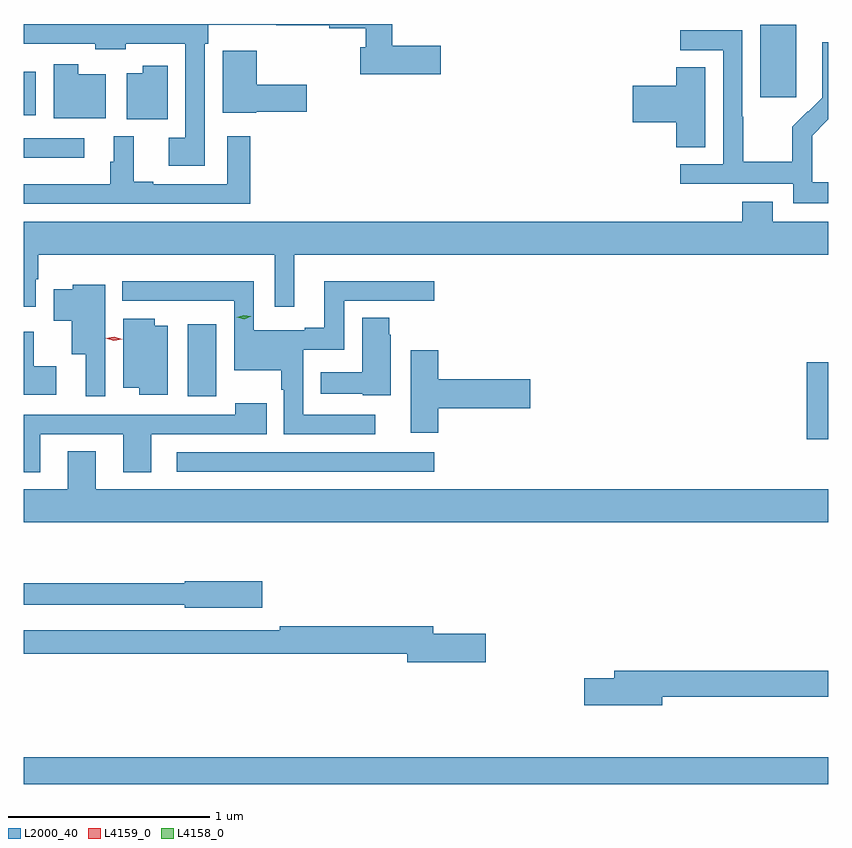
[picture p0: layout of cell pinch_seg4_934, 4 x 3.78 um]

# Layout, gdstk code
import gdstk
lib = gdstk.Library(unit=1e-6, precision=1e-09)
def R(c, l, rs):  # rectangles x0, y0, x1, y1
    for r in rs: c.add(gdstk.rectangle(r[:2], r[2:], *l))
def P(c, l, *ps):  # polygons
    for p in ps: c.add(gdstk.Polygon(p, *l))
L2000_40 = (2000, 40)
L4158_0 = (4158, 0)
L4159_0 = (4159, 0)

pinch_seg4_934 = lib.new_cell('pinch_seg4_934')
R(pinch_seg4_934, L2000_40, [(731.091,748.9,735.091,749.032), (731.853,750.453,733.132,750.549), (734.984,750.615,735.091,750.996), (731.906,750.828,732.049,751.186), (731.091,752.012,731.392,752.109), (731.091,752.225,731.152,752.44), (734.753,752.313,734.932,752.674)])
P(pinch_seg4_934, L2000_40, [(731.991,752.579),(732.008,752.579),(732.008,752.675),(732.346,752.675),(732.346,752.671),(732.61,752.671),(732.61,752.656),(732.791,752.656),(732.791,752.563),(732.764,752.563),(732.764,752.429),(733.165,752.429),(733.165,752.571),(732.923,752.571),(732.923,752.678),(731.091,752.678),(731.091,752.579),(731.144,752.579),(731.144,752.58),(731.448,752.58),(731.448,752.552),(731.598,752.552),(731.598,752.58),(731.895,752.58),(731.895,752.113),(731.811,752.113),(731.811,751.973),(731.991,751.973)],
  [(735.091,751.891),(735.012,751.891),(735.012,752.025),(735.01,752.025),(735.01,752.122),(735.084,752.196),(735.083,752.197),(735.091,752.205),(735.091,752.588),(735.06,752.588),(735.06,752.434),(735.062,752.434),(735.062,752.312),(734.991,752.241),(734.988,752.244),(734.911,752.167),(734.911,751.993),(734.667,751.993),(734.667,752.216),(734.664,752.216),(734.664,752.646),(734.355,752.646),(734.355,752.547),(734.568,752.547),(734.568,751.98),(734.355,751.98),(734.355,751.884),(734.916,751.884),(734.916,751.787),(735.091,751.787)],
  [(732.246,752.243),(732.499,752.243),(732.499,752.377),(732.25,752.377),(732.25,752.544),(732.081,752.544),(732.081,752.441),(732.08,752.441),(732.08,752.237),(732.246,752.237)],
  [(731.5,752.428),(731.362,752.428),(731.362,752.479),(731.24,752.479),(731.24,752.21),(731.5,752.21)],
  [(731.806,752.47),(731.684,752.47),(731.684,752.434),(731.603,752.434),(731.603,752.204),(731.806,752.204)],
  [(734.479,752.462),(734.336,752.462),(734.336,752.372),(734.118,752.372),(734.118,752.189),(734.336,752.189),(734.336,752.065),(734.479,752.065)],
  [(732.218,752.119),(732.102,752.119),(732.102,751.881),(731.734,751.881),(731.734,751.894),(731.638,751.894),(731.638,752.119),(731.54,752.119),(731.54,751.992),(731.521,751.992),(731.521,751.882),(731.091,751.882),(731.091,751.785),(732.218,751.785)],
  [(731.151,751.41),(731.164,751.41),(731.164,751.532),(732.339,751.532),(732.339,751.272),(732.436,751.272),(732.436,751.532),(735.091,751.532),(735.091,751.696),(734.815,751.696),(734.815,751.795),(734.663,751.795),(734.663,751.696),(731.091,751.696),(731.091,751.272),(731.151,751.272)],
  [(732.838,750.735),(732.48,750.735),(732.48,751.059),(732.685,751.059),(732.685,751.302),(733.132,751.302),(733.132,751.399),(732.584,751.399),(732.584,751.168),(732.488,751.168),(732.488,751.155),(732.234,751.155),(732.234,751.399),(731.582,751.399),(731.582,751.302),(732.138,751.302),(732.138,750.956),(732.372,750.956),(732.372,750.86),(732.384,750.86),(732.384,750.639),(732.838,750.639)],
  [(731.496,751.141),(731.497,751.141),(731.497,751.381),(731.334,751.381),(731.334,751.36),(731.24,751.36),(731.24,751.202),(731.33,751.202),(731.33,751.037),(731.399,751.037),(731.399,750.828),(731.496,750.828)],
  [(732.916,751.134),(732.908,751.134),(732.908,751.217),(732.773,751.217),(732.773,750.946),(732.567,750.946),(732.567,750.839),(732.777,750.839),(732.777,750.833),(732.916,750.833)],
  [(731.806,751.177),(731.743,751.177),(731.743,751.213),(731.585,751.213),(731.585,750.869),(731.666,750.869),(731.666,750.836),(731.806,750.836)],
  [(731.254,750.976),(731.14,750.976),(731.14,751.147),(731.091,751.147),(731.091,750.836),(731.254,750.836)],
  [(733.151,750.769),(733.609,750.769),(733.609,750.911),(733.151,750.911),(733.151,751.057),(733.016,751.057),(733.016,750.645),(733.151,750.645)],
  [(731.173,750.639),(731.585,750.639),(731.585,750.45),(731.725,750.45),(731.725,750.639),(732.299,750.639),(732.299,750.793),(732.143,750.793),(732.143,750.735),(731.091,750.735),(731.091,750.45),(731.173,750.45)],
  [(735.091,750.364),(731.449,750.364),(731.449,750.554),(731.309,750.554),(731.309,750.364),(731.091,750.364),(731.091,750.2),(735.091,750.2)],
  [(732.277,749.907),(731.892,749.907),(731.892,749.899),(731.091,749.899),(731.091,749.79),(731.892,749.79),(731.892,749.777),(732.277,749.777)],
  [(733.387,749.648),(733.126,749.648),(733.126,749.684),(732.364,749.684),(732.364,749.664),(731.091,749.664),(731.091,749.548),(732.998,749.548),(732.998,749.506),(733.387,749.506)],
  [(734.266,749.334),(735.091,749.334),(735.091,749.462),(734.027,749.462),(734.027,749.426),(733.878,749.426),(733.878,749.291),(734.266,749.291)])
P(pinch_seg4_934, L4158_0, [(732.188,751.211),(732.151,751.219),(732.151,751.219),(732.151,751.219),(732.186,751.231),(732.223,751.224),(732.223,751.224),(732.223,751.224)])
P(pinch_seg4_934, L4159_0, [(731.54,751.103),(731.499,751.115),(731.499,751.115),(731.499,751.115),(731.541,751.123),(731.581,751.112),(731.581,751.112),(731.581,751.112)])

lib.write_gds('pinch_seg4_934.gds')
